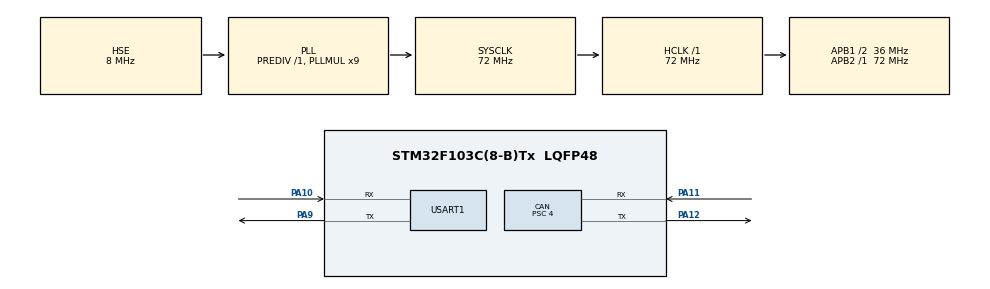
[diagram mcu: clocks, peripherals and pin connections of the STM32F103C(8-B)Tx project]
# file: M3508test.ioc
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CAN.BS1=CAN_BS1_5TQ
CAN.BS2=CAN_BS2_3TQ
CAN.CalculateBaudRate=1000000
CAN.CalculateTimeBit=1000
CAN.CalculateTimeQuantum=111.11111111111111
CAN.Prescaler=4
CAN.SJW=CAN_SJW_1TQ
Mcu.Family=STM32F1
Mcu.Name=STM32F103C(8-B)Tx
Mcu.Package=LQFP48
NVIC.PriorityGroup=NVIC_PRIORITYGROUP_4
NVIC.USB_LP_CAN1_RX0_IRQn=true\:0\:0\:false\:false\:true\:true\:true\:true
PA10.Mode=Asynchronous
PA10.Signal=USART1_RX
PA11.Mode=CAN_Activate
PA11.Signal=CAN_RX
PA12.Mode=CAN_Activate
PA12.Signal=CAN_TX
PA9.Mode=Asynchronous
PA9.Signal=USART1_TX
PD0-OSC_IN.Mode=HSE-External-Oscillator
PD0-OSC_IN.Signal=RCC_OSC_IN
PD1-OSC_OUT.Mode=HSE-External-Oscillator
PD1-OSC_OUT.Signal=RCC_OSC_OUT
ProjectManager.HeapSize=0x200
ProjectManager.StackSize=0x400
ProjectManager.TargetToolchain=MDK-ARM V5.32
RCC.AHBFreq_Value=72000000
RCC.APB1CLKDivider=RCC_HCLK_DIV2
RCC.APB1Freq_Value=36000000
RCC.APB1TimFreq_Value=72000000
RCC.APB2Freq_Value=72000000
RCC.APB2TimFreq_Value=72000000
RCC.HCLKFreq_Value=72000000
RCC.PLLMUL=RCC_PLL_MUL9
RCC.PLLSourceVirtual=RCC_PLLSOURCE_HSE
RCC.SYSCLKFreq_VALUE=72000000
RCC.SYSCLKSource=RCC_SYSCLKSOURCE_PLLCLK
RCC.USBFreq_Value=72000000
USART1.VirtualMode=VM_ASYNC
VP_SYS_VS_ND.Mode=No_Debug
board=custom

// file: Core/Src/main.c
/* USER CODE BEGIN Header */
/**
  ******************************************************************************
  * @file           : main.c
  * @brief          : Main program body
  ******************************************************************************
  * @attention
  *
  * Copyright (c) 2023 STMicroelectronics.
  * All rights reserved.
  *
  * This software is licensed under terms that can be found in the LICENSE file
  * in the root directory of this software component.
  * If no LICENSE file comes with this software, it is provided AS-IS.
  *
  ******************************************************************************
  */
/* USER CODE END Header */
#include "main.h"
#include "can.h"
#include "usart.h"
#include "gpio.h"

/* USER CODE BEGIN Includes */
#define CAN_3508Moto1_ID 0x201
#define CAN_3508Moto2_ID 0x202
#define CAN_3508Moto3_ID 0x203
#define CAN_3508Moto4_ID 0x204

typedef struct
{
  uint16_t theta;
  int16_t speed_rpm;
  int16_t given_current;
  uint8_t temperature;
  int16_t last_theta;
}moto_measure;
void get_moto_measure(moto_measure *ptr,uint8_t *data){
  (ptr)->last_theta = (ptr)->theta;
  (ptr)->theta = (uint16_t)((data)[0]<<8|(data)[1]);
  (ptr)->speed_rpm = (uint16_t)((data)[2]<<8|(data)[3]);
  (ptr)->given_current = (uint16_t)((data)[4]<<8|(data)[5]);
  (ptr)->temperature = (data)[6];
}

/* USER CODE END Includes */

void SystemClock_Config(void);

/* USER CODE BEGIN 0 */
static moto_measure moto_chassis[4];
CAN_TxHeaderTypeDef chassis_tx_message;
uint8_t chassis_can_send_data[8]={0};
void CAN_cmd_chassis(int16_t motor1, int16_t motor2, int16_t motor3, int16_t motor4)
{
	uint32_t send_mail_box;

	chassis_tx_message.StdId = 0x200;
	chassis_tx_message.IDE = CAN_ID_STD;
	chassis_tx_message.RTR = CAN_RTR_DATA;
	chassis_tx_message.DLC = 0x08;

	chassis_can_send_data[0] = motor1 >> 8;
	chassis_can_send_data[1] = motor1;
	chassis_can_send_data[2] = motor2 >> 8;
	chassis_can_send_data[3] = motor2;
	chassis_can_send_data[4] = motor3 >> 8;
	chassis_can_send_data[5] = motor3;
	chassis_can_send_data[6] = motor4 >> 8;
	chassis_can_send_data[7] = motor4;

	HAL_CAN_AddTxMessage(&hcan, &chassis_tx_message, chassis_can_send_data, &send_mail_box);
}

extern CAN_HandleTypeDef hcan;
//extern CAN_HandleTypeDef hcan2;
void can_filter_init(void)
{
    CAN_FilterTypeDef can_filter_st;
    can_filter_st.FilterActivation = ENABLE; //筛�?�器�?�?
    can_filter_st.FilterMode = CAN_FILTERMODE_IDMASK; //标识符屏蔽位模式
    can_filter_st.FilterScale = CAN_FILTERSCALE_32BIT; //过滤器位宽为单个32�?
    can_filter_st.FilterIdHigh = 0x0000;
    can_filter_st.FilterIdLow = 0x0000;
    can_filter_st.FilterMaskIdHigh = 0x0000;
    can_filter_st.FilterMaskIdLow = 0x0000;
    can_filter_st.FilterBank = 0;
    can_filter_st.FilterFIFOAssignment = CAN_RX_FIFO0; //FIFO0的中断和FIFO1的中断是不一样的，这里是把接收到的报文放入到FIFO0�?
    HAL_CAN_ConfigFilter(&hcan, &can_filter_st);
    HAL_CAN_Start(&hcan);
    HAL_CAN_ActivateNotification(&hcan, CAN_IT_RX_FIFO0_MSG_PENDING);

//    can_filter_st.SlaveStartFilterBank = 14; //为从属can选择�?始的过滤库，对于单个CAN实例，这个参数没有意�?
//    can_filter_st.FilterBank = 14;
//    HAL_CAN_ConfigFilter(&hcan2, &can_filter_st);
//    HAL_CAN_Start(&hcan2);
//    HAL_CAN_ActivateNotification(&hcan2, CAN_IT_RX_FIFO0_MSG_PENDING);

}

void NumToChar(uint8_t Num,unsigned char *Chars){
  for(int i=0;i<=7;i++){
    Chars[i] = Num%10;
    Num-=Num%10;
    Num/=10;
  }
}
typedef struct{
	double preValue;
	double tarValue;
	double preErr;
	double inValue;
	double deValue;
	double lastErr;
}Pid;
Pid cal;//cuowu
double dPIDcal(const double Kp,const double Ki,const double Kd,double Target,double Prevous){
	double ans=0;
	cal.preValue = Prevous;
	cal.tarValue = Target;
	cal.preErr=cal.tarValue-cal.preValue;
	cal.inValue+=cal.preErr;
	cal.deValue=cal.lastErr-cal.preErr;
	ans = Kp*cal.preErr+Ki*cal.inValue+Kd*cal.deValue;
	if(ans>16384){//��ֹ���Խ��
		ans=16384;
	}
	if(ans<-16384){
		ans=-16384;
	}
	cal.lastErr=cal.preErr;
	return ans;
}
/* USER CODE END 0 */

int main(void)
{

  /* MCU Configuration--------------------------------------------------------*/

  /* Reset of all peripherals, Initializes the Flash interface and the Systick. */
  HAL_Init();

  /* Configure the system clock */
  SystemClock_Config();

  /* Initialize all configured peripherals */
  MX_GPIO_Init();
  MX_CAN_Init();
  MX_USART1_UART_Init();
  /* USER CODE BEGIN 2 */
	HAL_CAN_Start(&hcan);
	can_filter_init();

  /* USER CODE END 2 */

  /* Infinite loop */
  /* USER CODE BEGIN WHILE */
  while (1)
  {
	  CAN_cmd_chassis(dPIDcal(1,0.01,10,5500,moto_chassis[0].speed_rpm),16384,3000,3000);
	//CAN_cmd_chassis(16384,16384,3000,3000);
	  unsigned char re[8]={0};
    NumToChar(moto_chassis->temperature,re);
	if(moto_chassis[0].theta!=0){
	}
	  HAL_UART_Transmit(&huart1,re,8,0xFFFF);
//    HAL_Delay(1000);
//    if(moto_chassis[0].theta==0){
//      CAN_cmd_chassis(0,16384,3000,3000);
//    }
    /* USER CODE END WHILE */

  }
}

void SystemClock_Config(void)
{
  RCC_OscInitTypeDef RCC_OscInitStruct = {0};
  RCC_ClkInitTypeDef RCC_ClkInitStruct = {0};

  /** Initializes the RCC Oscillators according to the specified parameters
  * in the RCC_OscInitTypeDef structure.
  */
  RCC_OscInitStruct.OscillatorType = RCC_OSCILLATORTYPE_HSE;
  RCC_OscInitStruct.HSEState = RCC_HSE_ON;
  RCC_OscInitStruct.HSEPredivValue = RCC_HSE_PREDIV_DIV1;
  RCC_OscInitStruct.HSIState = RCC_HSI_ON;
  RCC_OscInitStruct.PLL.PLLState = RCC_PLL_ON;
  RCC_OscInitStruct.PLL.PLLSource = RCC_PLLSOURCE_HSE;
  RCC_OscInitStruct.PLL.PLLMUL = RCC_PLL_MUL9;
  if (HAL_RCC_OscConfig(&RCC_OscInitStruct) != HAL_OK)
  {
    Error_Handler();
  }

  /** Initializes the CPU, AHB and APB buses clocks
  */
  RCC_ClkInitStruct.ClockType = RCC_CLOCKTYPE_HCLK|RCC_CLOCKTYPE_SYSCLK
                              |RCC_CLOCKTYPE_PCLK1|RCC_CLOCKTYPE_PCLK2;
  RCC_ClkInitStruct.SYSCLKSource = RCC_SYSCLKSOURCE_PLLCLK;
  RCC_ClkInitStruct.AHBCLKDivider = RCC_SYSCLK_DIV1;
  RCC_ClkInitStruct.APB1CLKDivider = RCC_HCLK_DIV2;
  RCC_ClkInitStruct.APB2CLKDivider = RCC_HCLK_DIV1;

  if (HAL_RCC_ClockConfig(&RCC_ClkInitStruct, FLASH_LATENCY_2) != HAL_OK)
  {
    Error_Handler();
  }
}

/* USER CODE BEGIN 4 */

void HAL_CAN_RxFifo0MsgPendingCallback(CAN_HandleTypeDef* hcan){
  CAN_RxHeaderTypeDef rx_header;
  uint8_t rx_data[8];
  HAL_CAN_GetRxMessage(hcan,CAN_RX_FIFO0,&rx_header,rx_data);
  switch(rx_header.StdId){
    case CAN_3508Moto1_ID://0x201
    case CAN_3508Moto2_ID://0x202
    case CAN_3508Moto3_ID://0x203
    case CAN_3508Moto4_ID://0x204
    {
		static uint8_t i = 0;
		i = rx_header.StdId - CAN_3508Moto1_ID;
		get_moto_measure(&moto_chassis[i], rx_data);
		break;
    }

    default:
    {
      break;
    }
  }
}
/* USER CODE END 4 */

void Error_Handler(void)
{
  __disable_irq();
  while (1)
  {
  }
}
